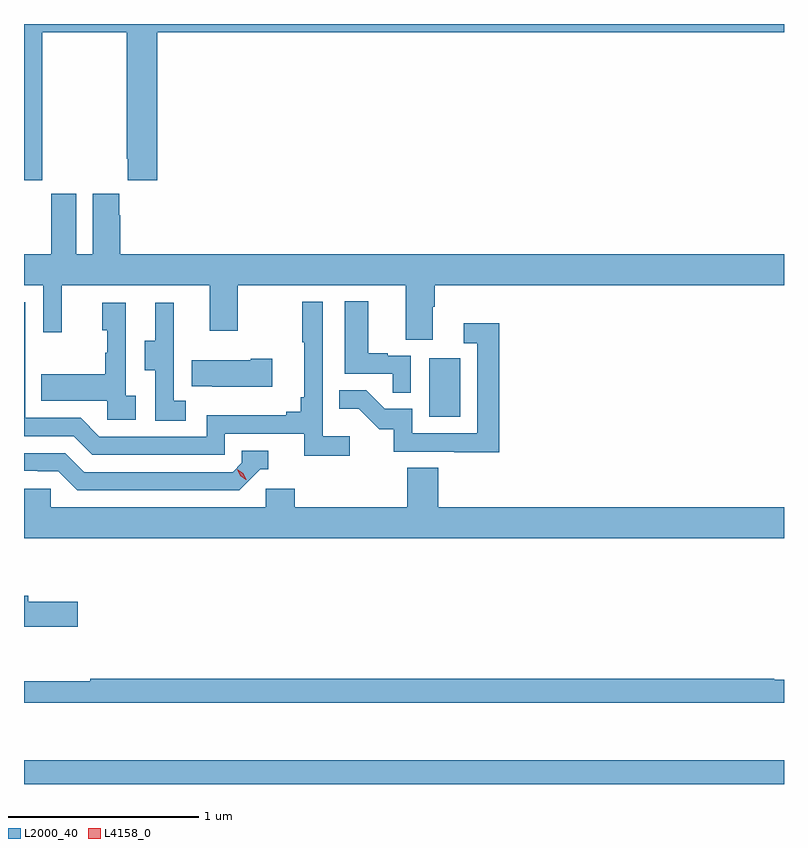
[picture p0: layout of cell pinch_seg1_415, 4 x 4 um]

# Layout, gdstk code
import gdstk
lib = gdstk.Library(unit=1e-6, precision=1e-09)
def R(c, l, rs):  # rectangles x0, y0, x1, y1
    for r in rs: c.add(gdstk.rectangle(r[:2], r[2:], *l))
def P(c, l, *ps):  # polygons
    for p in ps: c.add(gdstk.Polygon(p, *l))
L2000_40 = (2000, 40)
L4158_0 = (4158, 0)

pinch_seg1_415 = lib.new_cell('pinch_seg1_415')
R(pinch_seg1_415, L2000_40, [(916.031,531.791,920.031,531.916), (918.164,533.724,918.328,534.031)])
P(pinch_seg1_415, L2000_40, [(916.128,535.748),(916.573,535.748),(916.573,535.081),(916.577,535.081),(916.577,534.969),(916.733,534.969),(916.733,535.748),(920.031,535.748),(920.031,535.791),(916.031,535.791),(916.031,534.969),(916.128,534.969)],
  [(918.181,534.304),(918.194,534.304),(918.194,534.416),(920.031,534.416),(920.031,534.58),(916.538,534.58),(916.538,534.785),(916.531,534.785),(916.531,534.898),(916.394,534.898),(916.394,534.58),(916.306,534.58),(916.306,534.898),(916.175,534.898),(916.175,534.58),(916.031,534.58),(916.031,534.416),(916.131,534.416),(916.131,534.168),(916.229,534.168),(916.229,534.416),(917.009,534.416),(917.009,534.177),(917.157,534.177),(917.157,534.416),(918.041,534.416),(918.041,534.13),(918.181,534.13)],
  [(918.066,534.045),(917.945,534.045),(917.945,534.058),(917.842,534.058),(917.842,534.331),(917.72,534.331),(917.72,533.949),(917.971,533.949),(917.971,533.851),(918.066,533.851)],
  [(917.746,533.62),(917.604,533.62),(917.604,534.328),(917.496,534.328),(917.496,534.115),(917.507,534.115),(917.507,533.827),(917.488,533.827),(917.488,533.75),(917.411,533.75),(917.411,533.731),(916.992,533.731),(916.992,533.619),(916.428,533.619),(916.329,533.718),(916.038,533.718),(916.038,534.327),(916.031,534.327),(916.031,533.622),(916.292,533.622),(916.391,533.523),(917.088,533.523),(917.088,533.634),(917.507,533.634),(917.507,533.518),(917.746,533.518)],
  [(916.618,533.834),(916.566,533.834),(916.566,534.325),(916.442,534.325),(916.442,534.18),(916.468,534.18),(916.468,534.062),(916.458,534.062),(916.458,533.947),(916.123,533.947),(916.123,533.807),(916.47,533.807),(916.47,533.709),(916.618,533.709)],
  [(916.882,533.807),(916.818,533.807),(916.818,534.111),(916.82,534.111),(916.82,534.325),(916.721,534.325),(916.721,534.123),(916.667,534.123),(916.667,533.968),(916.722,533.968),(916.722,533.704),(916.882,533.704)],
  [(918.533,534.217),(918.345,534.217),(918.345,534.111),(918.417,534.111),(918.417,533.637),(918.075,533.637),(918.075,533.766),(917.93,533.766),(917.832,533.864),(917.689,533.864),(917.689,533.765),(917.793,533.765),(917.9,533.658),(917.977,533.658),(917.977,533.541),(918.295,533.541),(918.295,533.536),(918.533,533.536)],
  [(917.338,534.03),(917.225,534.03),(917.225,534.022),(916.915,534.022),(916.915,533.885),(917.023,533.885),(917.023,533.882),(917.338,533.882)],
  [(917.274,533.448),(917.317,533.448),(917.317,533.544),(917.178,533.544),(917.178,533.481),(917.13,533.433),(916.347,533.433),(916.248,533.532),(916.031,533.532),(916.031,533.439),(916.104,533.439),(916.104,533.436),(916.211,533.436),(916.31,533.337),(917.163,533.337)],
  [(920.031,533.248),(918.212,533.248),(918.212,533.456),(918.047,533.456),(918.047,533.248),(917.456,533.248),(917.456,533.346),(917.304,533.346),(917.304,533.248),(916.173,533.248),(916.173,533.346),(916.031,533.346),(916.031,533.084),(920.031,533.084)],
  [(916.315,532.749),(916.054,532.749),(916.054,532.783),(916.031,532.783),(916.031,532.619),(916.315,532.619)],
  [(920.031,532.339),(919.979,532.339),(919.979,532.346),(916.379,532.346),(916.379,532.331),(916.031,532.331),(916.031,532.218),(920.031,532.218)])
P(pinch_seg1_415, L4158_0, [(917.199,533.393),(917.169,533.414),(917.154,533.447),(917.154,533.447),(917.154,533.447),(917.184,533.427),(917.2,533.394),(917.2,533.393)])

lib.write_gds('pinch_seg1_415.gds')
